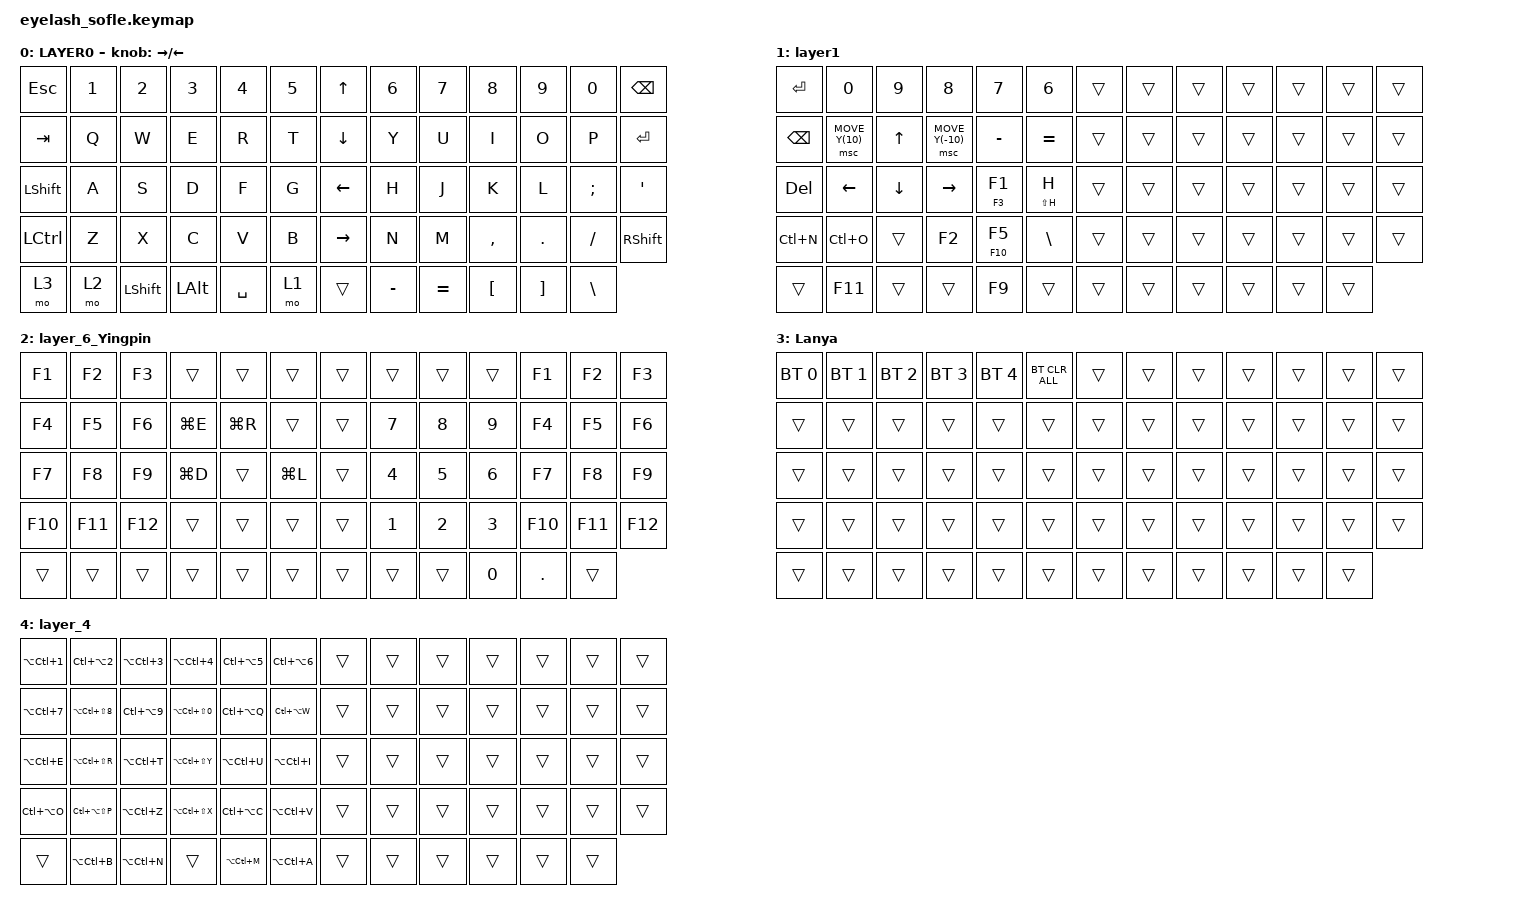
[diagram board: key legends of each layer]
#define ZMK_POINTING_DEFAULT_MOVE_VAL 1200  // 600
#define ZMK_POINTING_DEFAULT_SCRL_VAL 25   // 10

#include <input/processors.dtsi>
#include <zephyr/dt-bindings/input/input-event-codes.h>
#include <behaviors.dtsi>
#include <dt-bindings/zmk/bt.h>
#include <dt-bindings/zmk/keys.h>
#include <dt-bindings/zmk/pointing.h>

&mmv_input_listener { input-processors = <&zip_xy_scaler 2 1>; };

&msc_input_listener { input-processors = <&zip_scroll_scaler 2 1>; };

&msc {
    acceleration-exponent = <0>;      // 0
    time-to-max-speed-ms = <10>;       // 300
    delay-ms = <0>;                   // 0
};

&mmv {
    time-to-max-speed-ms = <500>;
    acceleration-exponent = <1>;
    trigger-period-ms = <16>;
};

/ {
    scroll_encoder: scroll_encoder {
        compatible = "zmk,behavior-sensor-rotate";
        #sensor-binding-cells = <0>;
        bindings = <&msc SCRL_DOWN>, <&msc SCRL_UP>;

        tap-ms = <100>;
    };

    behaviors {
    };

    keymap {
        compatible = "zmk,keymap";

        Layer-0 {
            bindings = <
&kp ESC    &kp N1  &kp N2     &kp N3    &kp N4     &kp N5    &kp UP     &kp N6     &kp N7     &kp N8     &kp N9    &kp N0    &kp BSPC
&kp TAB    &kp Q   &kp W      &kp E     &kp R      &kp T     &kp DOWN   &kp Y      &kp U      &kp I      &kp O     &kp P     &kp ENTER
&kp LSHFT  &kp A   &kp S      &kp D     &kp F      &kp G     &kp LEFT   &kp H      &kp J      &kp K      &kp L     &kp SEMI  &kp APOS
&kp LCTRL  &kp Z   &kp X      &kp C     &kp V      &kp B     &kp RIGHT  &kp N      &kp M      &kp COMMA  &kp DOT   &kp FSLH  &kp RSHFT
&mo 3      &mo 2   &kp LSHFT  &kp LALT  &kp SPACE  &mo 1     &trans     &kp MINUS  &kp EQUAL  &kp LBKT   &kp RBKT  &kp BSLH
            >;

            display-name = "LAYER0";
            sensor-bindings = <&inc_dec_kp RIGHT LEFT>;
        };

        layer_1 {
            bindings = <
&kp ENTER  &kp N0           &kp N9    &kp N8            &kp N7      &kp N6         &trans  &trans  &trans  &trans  &trans  &trans  &trans
&kp BSPC   &msc MOVE_Y(10)  &kp UP    &msc MOVE_Y(-10)  &kp MINUS   &kp EQUAL      &trans  &trans  &trans  &trans  &trans  &trans  &trans
&kp DEL    &kp LEFT         &kp DOWN  &kp RIGHT         &mt F3 F1   &mt LS(H) H    &trans  &trans  &trans  &trans  &trans  &trans  &trans
&kp LC(N)  &kp LC(O)        &trans    &kp F2            &mt F10 F5  &kp BSLH       &trans  &trans  &trans  &trans  &trans  &trans  &trans
&trans     &kp F11          &trans    &trans            &kp F9      &trans         &trans  &trans  &trans  &trans  &trans  &trans
            >;

            display-name = "layer1";
        };

        layer_2 {
            display-name = "layer_6_Yingpin";
            bindings = <
&kp F1   &kp F2   &kp F3   &trans     &trans     &trans       &trans  &trans  &trans  &trans  &kp F1   &kp F2   &kp F3
&kp F4   &kp F5   &kp F6   &kp LG(E)  &kp LG(R)  &trans       &trans  &kp N7  &kp N8  &kp N9  &kp F4   &kp F5   &kp F6
&kp F7   &kp F8   &kp F9   &kp LG(D)  &trans     &kp LG(L)    &trans  &kp N4  &kp N5  &kp N6  &kp F7   &kp F8   &kp F9
&kp F10  &kp F11  &kp F12  &trans     &trans     &trans       &trans  &kp N1  &kp N2  &kp N3  &kp F10  &kp F11  &kp F12
&trans   &trans   &trans   &trans     &trans     &trans       &trans  &trans  &trans  &kp N0  &kp DOT  &trans
            >;
        };

        layer_3 {
            bindings = <
&bt BT_SEL 0  &bt BT_SEL 1  &bt BT_SEL 2  &bt BT_SEL 3  &bt BT_SEL 4  &bt BT_CLR_ALL    &trans  &trans  &trans  &trans  &trans  &trans  &trans
&trans        &trans        &trans        &trans        &trans        &trans            &trans  &trans  &trans  &trans  &trans  &trans  &trans
&trans        &trans        &trans        &trans        &trans        &trans            &trans  &trans  &trans  &trans  &trans  &trans  &trans
&trans        &trans        &trans        &trans        &trans        &trans            &trans  &trans  &trans  &trans  &trans  &trans  &trans
&trans        &trans        &trans        &trans        &trans        &trans            &trans  &trans  &trans  &trans  &trans  &trans
            >;

            label = "Lanya";
        };

        layer_4 {
            bindings = <
&kp LA(LC(N1))  &kp LC(LA(N2))      &kp LA(LC(N3))  &kp LA(LC(N4))      &kp LC(LA(N5))  &kp LC(LA(N6))    &trans  &trans  &trans  &trans  &trans  &trans  &trans
&kp LA(LC(N7))  &kp LA(LC(LS(N8)))  &kp LC(LA(N9))  &kp LA(LC(LS(N0)))  &kp LC(LA(Q))   &kp LC(LA(W))     &trans  &trans  &trans  &trans  &trans  &trans  &trans
&kp LA(LC(E))   &kp LA(LC(LS(R)))   &kp LA(LC(T))   &kp LA(LC(LS(Y)))   &kp LA(LC(U))   &kp LA(LC(I))     &trans  &trans  &trans  &trans  &trans  &trans  &trans
&kp LC(LA(O))   &kp LC(LA(LS(P)))   &kp LA(LC(Z))   &kp LA(LC(LS(X)))   &kp LC(LA(C))   &kp LA(LC(V))     &trans  &trans  &trans  &trans  &trans  &trans  &trans
&trans          &kp LA(LC(B))       &kp LA(LC(N))   &trans              &kp LA(LC(M))   &kp LA(LC(A))     &trans  &trans  &trans  &trans  &trans  &trans
            >;
        };
    };

    conditional_layers { compatible = "zmk,conditional-layers"; };
};
